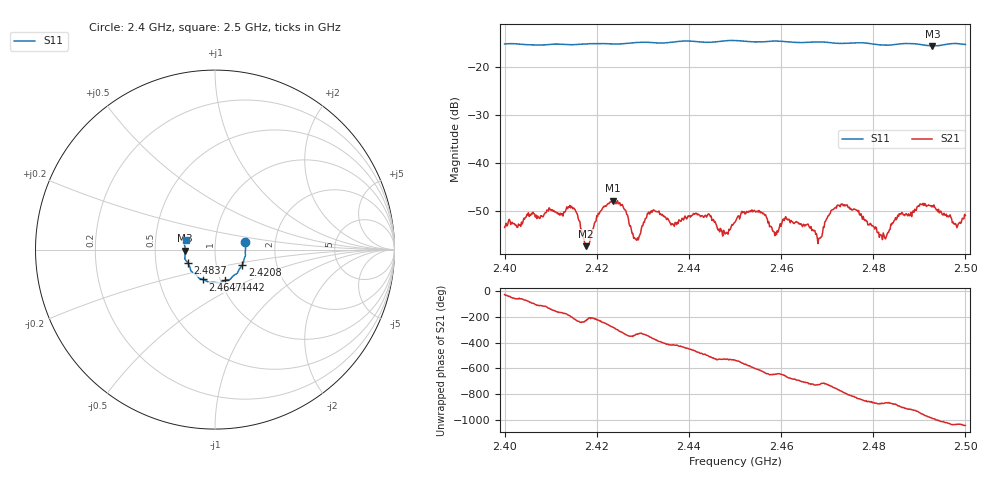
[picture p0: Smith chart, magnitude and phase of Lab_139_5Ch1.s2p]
# Hz S RI R 50
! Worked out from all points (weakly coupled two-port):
!   601 points, 2.4 GHz to 2.5 GHz, reference 50 ohm
!   highest |S21| = -47.89 dB at 2.4235 GHz (marker M1); lowest = -57.4 dB at 2.4177 GHz (marker M2)
!   lowest |S11| = -15.6 dB at 2.4928 GHz (marker M3), VSWR 1.40, Z = 35.8 - j0.387 ohm
!   |S11| at or under -10 dB: start of sweep to end of sweep
!   S12 and S22 are empty: the file has one direction only
!   S11 on the Smith chart (normalised r, x): 2.4 GHz: 1.40, +0.12; 2.4208 GHz: 1.33, -0.24; 2.4442 GHz: 1.05, -0.37; 2.4647 GHz: 0.83, -0.29; 2.4837 GHz: 0.73, -0.11; 2.5 GHz: 0.72, +0.08
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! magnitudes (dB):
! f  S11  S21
! 2.4 GHz  -15.2  -53.5
! 2.414 GHz  -15.4  -49.3
! 2.4167 GHz  -15.3  -53.9
! 2.4177 GHz  -15.2  -57.4
! 2.4208 GHz  -15.1  -50.1
! 2.4235 GHz  -15.2  -47.9
! 2.4285 GHz  -14.9  -56.0
! 2.4333 GHz  -15.0  -50.2
! 2.4442 GHz  -14.9  -50.7
! 2.4478 GHz  -14.6  -54.9
! 2.45 GHz  -14.5  -52.4
! 2.4538 GHz  -14.8  -50.2
! 2.4587 GHz  -14.6  -55.2
! 2.4647 GHz  -14.9  -53.3
! 2.4667 GHz  -14.8  -54.2
! 2.4683 GHz  -14.8  -55.8
! 2.4735 GHz  -15.1  -49.0
! 2.4833 GHz  -15.5  -54.5
! 2.4837 GHz  -15.4  -53.9
! 2.4928 GHz  -15.6  -49.0
! 2.4978 GHz  -15.1  -52.7
! 2.5 GHz  -15.3  -51.0
